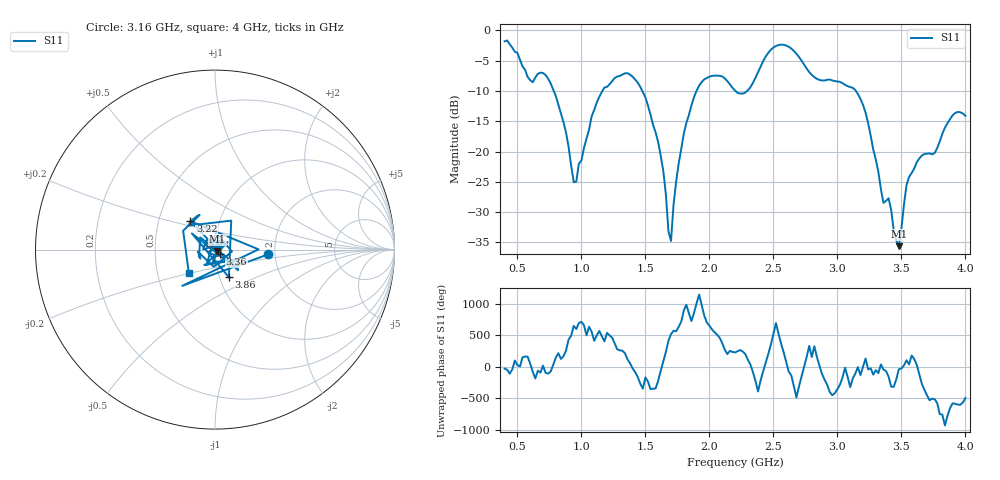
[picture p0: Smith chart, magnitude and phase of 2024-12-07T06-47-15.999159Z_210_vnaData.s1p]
!Created with skrf (http://scikit-rf.org).
# Hz S RI R 50.0
!freq ReS11 ImS11
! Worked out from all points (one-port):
!   181 points, 400 MHz to 4 GHz, reference 50 ohm
!   lowest |S11| = -35.6 dB at 3.48 GHz (marker M1), VSWR 1.03, Z = 51.3 - j1.07 ohm
!   |S11| at or under -10 dB: 784.2 MHz to 1.164 GHz (379.5 MHz wide, 39 % of centre); 1.476 GHz to 1.899 GHz (423 MHz wide, 25.1 % of centre); 3.145 GHz to end of sweep (the widest 3 of 4)
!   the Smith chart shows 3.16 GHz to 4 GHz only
!   S11 on the Smith chart (normalised r, x): 3.16 GHz: 1.84, -0.11; 3.22 GHz: 0.73, +0.24; 3.36 GHz: 1.05, -0.06; 3.86 GHz: 1.11, -0.35; 4 GHz: 0.72, -0.20
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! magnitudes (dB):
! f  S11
! 400 MHz  -1.8
! 600 MHz  -8.2
! 720 MHz  -7.4
! 860 MHz  -15.2
! 940 MHz  -25.1
! 960 MHz  -25.0
! 1.12 GHz  -11.9
! 1.3 GHz  -7.5
! 1.5 GHz  -11.0
! 1.62 GHz  -20.8
! 1.7 GHz  -34.8
! 1.76 GHz  -22.0
! 1.82 GHz  -15.3
! 1.94 GHz  -8.5
! 2.2 GHz  -9.9
! 2.3 GHz  -9.9
! 2.5 GHz  -2.8
! 2.66 GHz  -3.4
! 2.84 GHz  -8.0
! 3.1 GHz  -9.4
! 3.16 GHz  -10.5
! 3.22 GHz  -13.6
! 3.36 GHz  -28.5
! 3.4 GHz  -27.7
! 3.48 GHz  -35.6
! 3.56 GHz  -24.2
! 3.86 GHz  -15.3
! 4 GHz  -14.1
